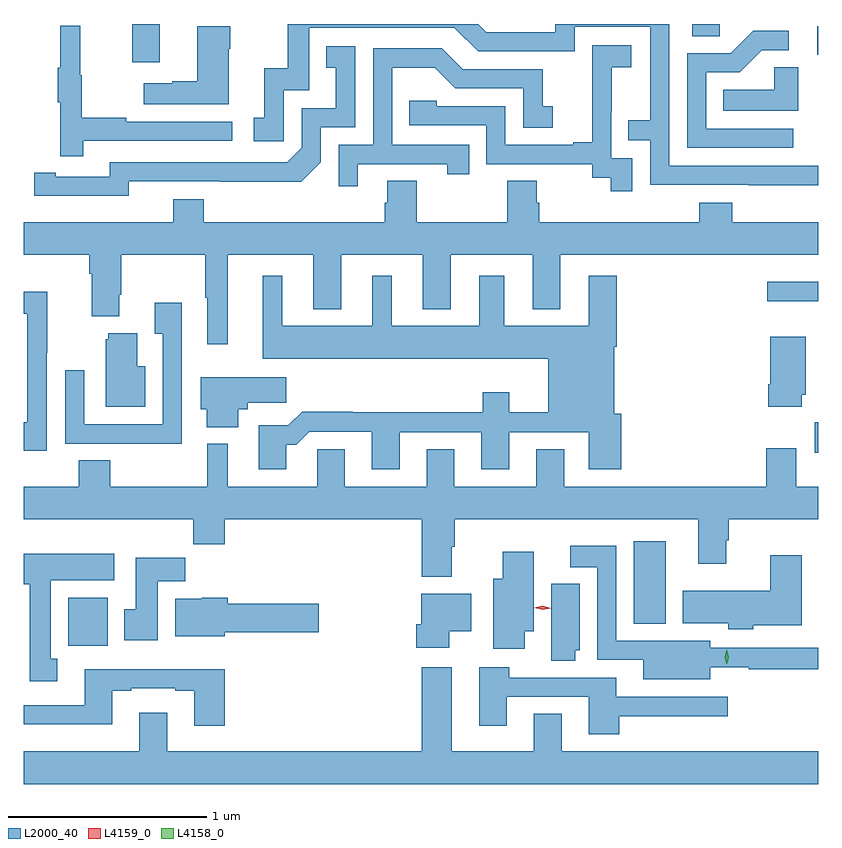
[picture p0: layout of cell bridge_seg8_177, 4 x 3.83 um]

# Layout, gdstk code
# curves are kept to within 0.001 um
import gdstk
lib = gdstk.Library(unit=1e-6, precision=1e-09)
def R(c, l, rs):  # rectangles x0, y0, x1, y1
    for r in rs: c.add(gdstk.rectangle(r[:2], r[2:], *l))
def P(c, l, *ps):  # polygons
    for p in ps: c.add(gdstk.Polygon(p, *l))
L2000_40 = (2000, 40)
L4158_0 = (4158, 0)
L4159_0 = (4159, 0)

bridge_seg8_177 = lib.new_cell('bridge_seg8_177')
R(bridge_seg8_177, L2000_40, [(435.758,1111.868,435.955,1112.11), (438.605,1111.979,438.766,1112.395), (439.514,1112.84,439.533,1112.994), (439.275,1113.603,439.533,1113.7), (436.079,1114.806,436.219,1114.998), (439.529,1114.842,439.533,1114.987), (438.899,1114.936,439.038,1114.998)])
P(bridge_seg8_177, L2000_40, [(439.533,1114.284),(438.783,1114.284),(438.783,1114.998),(438.209,1114.998),(438.209,1114.956),(437.862,1114.956),(437.82,1114.998),(436.863,1114.998),(436.863,1114.774),(436.745,1114.774),(436.745,1114.527),(436.692,1114.527),(436.692,1114.407),(436.842,1114.407),(436.842,1114.665),(436.971,1114.665),(436.971,1114.98),(437.7,1114.98),(437.82,1114.86),(438.306,1114.86),(438.306,1114.983),(438.687,1114.983),(438.687,1114.514),(438.577,1114.514),(438.577,1114.413),(438.687,1114.413),(438.687,1114.188),(439.533,1114.187)],
  [(435.833,1114.41),(436.582,1114.41),(436.582,1114.506),(436.049,1114.506),(436.049,1114.526),(435.826,1114.526),(435.826,1114.74),(435.818,1114.74),(435.818,1114.99),(435.716,1114.99),(435.716,1114.777),(435.705,1114.777),(435.705,1114.603),(435.716,1114.603),(435.716,1114.332),(435.833,1114.332)],
  [(436.564,1114.874),(436.572,1114.874),(436.572,1114.987),(436.406,1114.987),(436.406,1114.709),(436.28,1114.709),(436.28,1114.699),(436.137,1114.699),(436.137,1114.595),(436.564,1114.595)],
  [(439.408,1114.47),(438.969,1114.47),(438.969,1114.755),(439.138,1114.755),(439.249,1114.866),(439.384,1114.866),(439.384,1114.964),(439.205,1114.964),(439.092,1114.851),(438.873,1114.851),(438.873,1114.374),(439.408,1114.374)],
  [(438.597,1114.323),(438.492,1114.323),(438.492,1114.553),(438.494,1114.553),(438.494,1114.781),(438.592,1114.781),(438.592,1114.891),(438.394,1114.891),(438.394,1114.685),(438.395,1114.685),(438.395,1114.402),(438.299,1114.402),(438.299,1114.389),(437.958,1114.389),(437.958,1114.584),(437.613,1114.584),(437.613,1114.611),(437.473,1114.611),(437.473,1114.488),(437.862,1114.488),(437.862,1114.293),(438.396,1114.293),(438.396,1114.225),(438.489,1114.225),(438.489,1114.155),(438.597,1114.155)],
  [(436.062,1114.206),(436.93,1114.205),(437.028,1114.302),(437.028,1114.479),(437.202,1114.479),(437.202,1114.885),(437.056,1114.885),(437.056,1114.779),(437.105,1114.779),(437.105,1114.575),(436.932,1114.575),(436.932,1114.374),(436.86,1114.302),(435.966,1114.302),(435.966,1114.23),(435.694,1114.23),(435.694,1114.25),(435.586,1114.25),(435.586,1114.134),(436.062,1114.133)],
  [(437.215,1114.293),(437.666,1114.293),(437.666,1114.242),(437.777,1114.242),(437.777,1114.389),(437.388,1114.389),(437.388,1114.778),(437.602,1114.778),(437.706,1114.674),(438.048,1114.674),(438.048,1114.476),(438.196,1114.476),(438.196,1114.585),(438.147,1114.585),(438.147,1114.77),(437.743,1114.77),(437.638,1114.875),(437.292,1114.875),(437.292,1114.389),(437.118,1114.389),(437.118,1114.182),(437.215,1114.182)],
  [(439.432,1114.781),(439.311,1114.781),(439.311,1114.666),(439.054,1114.666),(439.054,1114.562),(439.432,1114.562)],
  [(437.543,1113.563),(437.683,1113.563),(437.683,1113.836),(438.095,1113.836),(438.095,1113.563),(438.235,1113.563),(438.235,1113.836),(439.533,1113.836),(439.533,1114),(439.1,1114),(439.1,1114.099),(438.935,1114.099),(438.935,1114),(438.128,1114),(438.128,1114.098),(438.115,1114.098),(438.115,1114.208),(437.968,1114.208),(437.968,1114),(437.511,1114),(437.511,1114.208),(437.363,1114.208),(437.363,1114.098),(437.351,1114.098),(437.351,1114),(436.439,1114),(436.439,1114.117),(436.286,1114.117),(436.286,1114),(435.533,1114),(435.533,1113.836),(435.863,1113.836),(435.863,1113.74),(435.875,1113.74),(435.875,1113.527),(436.015,1113.527),(436.015,1113.634),(436.023,1113.634),(436.023,1113.836),(436.447,1113.836),(436.447,1113.62),(436.457,1113.62),(436.457,1113.387),(436.561,1113.387),(436.561,1113.836),(436.991,1113.836),(436.991,1113.563),(437.131,1113.563),(437.131,1113.836),(437.543,1113.836)],
  [(436.855,1112.879),(436.904,1112.879),(436.971,1112.946),(437.285,1112.946),(437.285,1112.757),(437.425,1112.757),(437.425,1112.943),(437.837,1112.943),(437.837,1112.757),(437.977,1112.757),(437.977,1112.943),(438.377,1112.943),(438.377,1112.757),(438.542,1112.757),(438.542,1113.036),(438.505,1113.036),(438.505,1113.374),(438.518,1113.374),(438.518,1113.73),(438.377,1113.73),(438.377,1113.478),(437.953,1113.478),(437.953,1113.73),(437.825,1113.73),(437.825,1113.478),(437.386,1113.478),(437.386,1113.73),(437.288,1113.73),(437.288,1113.478),(436.834,1113.478),(436.834,1113.73),(436.736,1113.73),(436.736,1113.314),(438.173,1113.314),(438.173,1113.044),(437.977,1113.044),(437.977,1113.145),(437.843,1113.145),(437.843,1113.044),(437.189,1113.044),(437.189,1113.047),(436.934,1113.047),(436.864,1112.977),(436.715,1112.977),(436.715,1112.757),(436.855,1112.757)],
  [(435.648,1113.343),(435.651,1113.343),(435.651,1113.65),(435.533,1113.65),(435.533,1113.54),(435.551,1113.54),(435.551,1113.346),(435.552,1113.346),(435.552,1112.994),(435.533,1112.994),(435.533,1112.85),(435.648,1112.85)],
  [(436.329,1113.595),(436.193,1113.595),(436.193,1113.439),(436.233,1113.439),(436.233,1112.982),(435.837,1112.982),(435.837,1113.256),(435.741,1113.256),(435.741,1112.886),(436.057,1112.886),(436.057,1112.885),(436.329,1112.885)],
  [(436.144,1113.274),(436.105,1113.274),(436.105,1113.442),(435.959,1113.442),(435.959,1113.411),(435.947,1113.411),(435.947,1113.071),(436.144,1113.071)],
  [(439.45,1113.132),(439.471,1113.132),(439.471,1113.424),(439.292,1113.424),(439.292,1113.184),(439.28,1113.184),(439.28,1113.072),(439.45,1113.072)],
  [(436.612,1113.059),(436.66,1113.059),(436.66,1113.091),(436.855,1113.091),(436.855,1113.22),(436.424,1113.22),(436.424,1113.059),(436.454,1113.059),(436.454,1112.969),(436.612,1112.969)],
  [(437.702,1112.504),(438.929,1112.504),(438.929,1112.28),(439.069,1112.28),(439.069,1112.4),(439.082,1112.4),(439.082,1112.504),(439.533,1112.504),(439.533,1112.668),(439.423,1112.668),(439.423,1112.863),(439.271,1112.863),(439.271,1112.668),(438.253,1112.668),(438.253,1112.858),(438.113,1112.858),(438.113,1112.668),(437.701,1112.668),(437.701,1112.858),(437.561,1112.858),(437.561,1112.668),(437.149,1112.668),(437.149,1112.858),(437.01,1112.858),(437.01,1112.668),(436.561,1112.668),(436.561,1112.884),(436.457,1112.884),(436.457,1112.668),(435.969,1112.668),(435.969,1112.801),(435.809,1112.801),(435.809,1112.668),(435.533,1112.668),(435.533,1112.504),(436.387,1112.504),(436.387,1112.38),(436.544,1112.38),(436.544,1112.504),(437.537,1112.504),(437.537,1112.216),(437.689,1112.216),(437.689,1112.366),(437.702,1112.366)],
  [(438.988,1111.76),(439.184,1111.76),(439.184,1111.749),(439.533,1111.749),(439.533,1111.857),(438.988,1111.857),(438.988,1111.894),(438.762,1111.894),(438.762,1111.893),(438.516,1111.893),(438.516,1112.371),(438.285,1112.371),(438.285,1112.264),(438.42,1112.264),(438.42,1111.797),(438.653,1111.797),(438.653,1111.7),(438.988,1111.7)],
  [(438.055,1111.94),(438.1,1111.94),(438.1,1112.341),(437.945,1112.341),(437.945,1112.206),(437.897,1112.206),(437.897,1111.854),(438.055,1111.854)],
  [(435.703,1111.802),(435.67,1111.802),(435.67,1112.198),(435.988,1112.198),(435.988,1112.332),(435.533,1112.332),(435.533,1112.178),(435.563,1112.178),(435.563,1111.689),(435.703,1111.689)],
  [(439.206,1111.97),(439.45,1111.97),(439.45,1112.323),(439.292,1112.323),(439.292,1112.146),(438.851,1112.146),(438.851,1111.982),(439.081,1111.982),(439.081,1111.952),(439.206,1111.952)],
  [(436.207,1112.192),(436.346,1112.192),(436.346,1112.311),(436.097,1112.311),(436.097,1112.052),(436.04,1112.052),(436.04,1111.896),(436.207,1111.896)],
  [(438.31,1111.845),(438.331,1111.845),(438.331,1112.179),(438.188,1112.179),(438.188,1111.792),(438.31,1111.792)],
  [(437.674,1111.94),(437.785,1111.94),(437.785,1112.131),(437.534,1112.131),(437.534,1111.977),(437.509,1111.977),(437.509,1111.859),(437.674,1111.859)],
  [(436.546,1111.937),(437.017,1111.937),(437.017,1112.079),(436.559,1112.079),(436.559,1112.11),(436.428,1112.11),(436.428,1112.104),(436.295,1112.104),(436.295,1111.916),(436.546,1111.916)],
  [(438.53,1111.514),(439.078,1111.514),(439.078,1111.611),(438.517,1111.611),(438.517,1111.707),(437.978,1111.707),(437.978,1111.759),(437.825,1111.759),(437.825,1111.464),(437.965,1111.464),(437.965,1111.611),(438.377,1111.611),(438.377,1111.422),(438.53,1111.422)],
  [(439.533,1111.336),(438.241,1111.336),(438.241,1111.526),(438.101,1111.526),(438.101,1111.336),(437.689,1111.336),(437.689,1111.759),(437.537,1111.759),(437.537,1111.336),(436.255,1111.336),(436.255,1111.531),(436.115,1111.531),(436.115,1111.336),(435.533,1111.336),(435.533,1111.172),(439.533,1111.172)],
  [(436.544,1111.75),(435.839,1111.75),(435.839,1111.569),(435.533,1111.569),(435.533,1111.472),(435.979,1111.472),(435.979,1111.641),(436.075,1111.641),(436.075,1111.653),(436.295,1111.653),(436.295,1111.641),(436.391,1111.641),(436.391,1111.464),(436.544,1111.464)])
P(bridge_seg8_177, L4158_0, [(439.073,1111.775),(439.073,1111.775),(439.063,1111.811),(439.073,1111.847),(439.073,1111.847),(439.073,1111.847),(439.083,1111.811),(439.073,1111.775)])
P(bridge_seg8_177, L4159_0, [(438.145,1112.049),(438.104,1112.06),(438.104,1112.06),(438.104,1112.06),(438.146,1112.069),(438.186,1112.058),(438.186,1112.058),(438.186,1112.058)])

lib.write_gds('bridge_seg8_177.gds')
